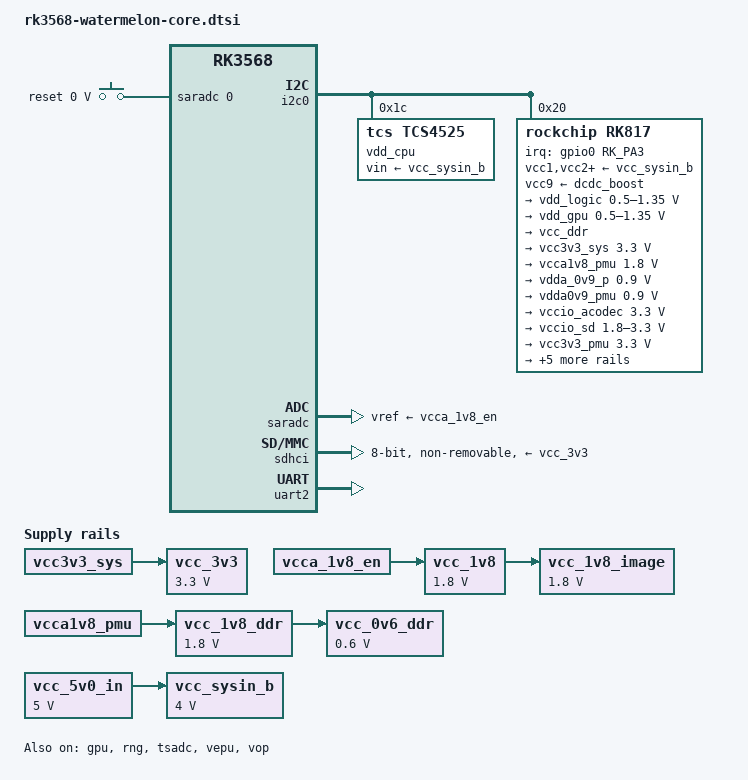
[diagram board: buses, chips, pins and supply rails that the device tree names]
// SPDX-License-Identifier: (GPL-2.0+ OR MIT)
// Copyright (c) 2023 unifreq <https://github.com/unifreq>

#include <dt-bindings/gpio/gpio.h>
#include <dt-bindings/pinctrl/rockchip.h>
#include <dt-bindings/pwm/pwm.h>
#include <dt-bindings/input/input.h>
#include <dt-bindings/soc/rockchip,vop2.h>
#include "rk3568.dtsi"

/ {
	aliases {
		mmc0 = &sdmmc0;
		mmc1 = &sdhci;
		ethernet0 = &gmac0;
		ethernet1 = &gmac1;
	};

	chosen: chosen {
		bootargs = "earlycon=uart8250,mmio32,0xfe660000 console=ttyS2,1500000";
	};

	reserved_memory: reserved-memory {
		#address-cells = <2>;
		#size-cells = <2>;
		ranges;

		cma: cma {
			compatible = "shared-dma-pool";
			reusable;
			size = <0x0 0x10000000>;
			linux,cma-default;
		};

		ramoops: ramoops@110000 {
			compatible = "ramoops";
			reg = <0x0 0x110000 0x0 0xf0000>;
			record-size = <0x20000>;
			console-size = <0x80000>;
			ftrace-size = <0x00000>;
			pmsg-size = <0x50000>;
		};
	};

	adc_keys: adc-keys {
		compatible = "adc-keys";
		io-channels = <&saradc 0>;
		io-channel-names = "buttons";
		keyup-threshold-microvolt = <1750000>;

		button_reset: button-reset {
			label = "reset";
			linux,code = <KEY_RESTART>;
			press-threshold-microvolt = <0>;
		};
	};

	vcc_5v0_in: vcc-5v0-in {
		compatible = "regulator-fixed";
		regulator-min-microvolt = <5000000>;
		regulator-max-microvolt = <5000000>;
		regulator-always-on;
		regulator-boot-on;
		regulator-name = "vcc_5v0_in";
	};

	vcc_sysin_b: vcc-sysin-b {
		compatible = "regulator-fixed";
		regulator-name = "vcc_sysin_b";
		regulator-always-on;
		regulator-boot-on;
		regulator-min-microvolt = <4000000>;
		regulator-max-microvolt = <4000000>;
		vin-supply = <&vcc_5v0_in>;
	};

	/* Enabled when PMIC_SLEEP_H down */
	vcc_3v3: vcc-3v3 {
		compatible = "regulator-fixed";
		regulator-name = "vcc_3v3";
		regulator-always-on;
		regulator-boot-on;
		regulator-min-microvolt = <3300000>;
		regulator-max-microvolt = <3300000>;
		vin-supply = <&vcc3v3_sys>;
	};

	/* Enabled when vcca_1v8_en up */
	vcc_1v8: vcc-1v8 {
		compatible = "regulator-fixed";
		regulator-name = "vcc_1v8";
		regulator-always-on;
		regulator-boot-on;
		regulator-min-microvolt = <1800000>;
		regulator-max-microvolt = <1800000>;
		vin-supply = <&vcca_1v8_en>;
	};

	vcc_1v8_image: vcc-1v8-image {
		compatible = "regulator-fixed";
		regulator-name = "vcc_1v8_image";
		regulator-always-on;
		regulator-boot-on;
		regulator-min-microvolt = <1800000>;
		regulator-max-microvolt = <1800000>;
		vin-supply = <&vcc_1v8>;
	};

	vcc_1v8_ddr: vcc-1v8-ddr {
		compatible = "regulator-fixed";
		regulator-name = "vcc_1v8_ddr";
		regulator-always-on;
		regulator-boot-on;
		regulator-min-microvolt = <1800000>;
		regulator-max-microvolt = <1800000>;
		vin-supply = <&vcca1v8_pmu>;
	};

	vcc_0v6_ddr: vcc_0v6_ddr {
		compatible = "regulator-fixed";
		regulator-name = "vcc_0v6_ddr";
		regulator-always-on;
		regulator-boot-on;
		regulator-min-microvolt = <600000>;
		regulator-max-microvolt = <600000>;
		vin-supply = <&vcc_1v8_ddr>;
	};
};

&cpu0 {
	cpu-supply = <&vdd_cpu>;
};

&cpu1 {
	cpu-supply = <&vdd_cpu>;
};

&cpu2 {
	cpu-supply = <&vdd_cpu>;
};

&cpu3 {
	cpu-supply = <&vdd_cpu>;
};

&gpu {
	mali-supply = <&vdd_gpu>;
	status = "okay";
};

&i2c0 {
	status = "okay";

	vdd_cpu: tcs4525@1c {
		compatible = "tcs,tcs4525";
		reg = <0x1c>;
		vin-supply = <&vcc_sysin_b>;
		regulator-compatible = "fan53555-reg";
		regulator-name = "vdd_cpu";
		regulator-min-microvolt = <712500>;
		regulator-max-microvolt = <1390000>;
		regulator-init-microvolt = <900000>;
		regulator-initial-mode = <1>;
		regulator-ramp-delay = <2300>;
		fcs,suspend-voltage-selector = <1>;
		regulator-boot-on;
		regulator-always-on;

		regulator-state-mem {
			regulator-off-in-suspend;
		};
	};

	rk817: pmic@20 {
		compatible = "rockchip,rk817";
		reg = <0x20>;
		interrupt-parent = <&gpio0>;
		interrupts = <RK_PA3 IRQ_TYPE_LEVEL_LOW>;

		pinctrl-names = "default", "pmic-sleep",
				"pmic-power-off", "pmic-reset";
		pinctrl-0 = <&pmic_int>;
		pinctrl-1 = <&soc_slppin_slp>, <&rk817_slppin_slp>;
		pinctrl-2 = <&soc_slppin_gpio>, <&rk817_slppin_pwrdn>;
		pinctrl-3 = <&soc_slppin_gpio>, <&rk817_slppin_rst>;
		rockchip,system-power-controller;
		wakeup-source;
		#clock-cells = <1>;
		clock-output-names = "rk808-clkout1", "rk808-clkout2";
		//fb-inner-reg-idxs = <2>;
		/* 1: rst regs (default in codes), 0: rst the pmic */
		pmic-reset-func = <0>;

		vcc1-supply = <&vcc_sysin_b>;
		vcc2-supply = <&vcc_sysin_b>;
		vcc3-supply = <&vcc_sysin_b>;
		vcc4-supply = <&vcc_sysin_b>;
		vcc5-supply = <&vcc_sysin_b>;
		vcc6-supply = <&vcc_sysin_b>;
		vcc7-supply = <&vcc_sysin_b>;
		vcc8-supply = <&vcc_sysin_b>;
		vcc9-supply = <&dcdc_boost>;

		pwrkey {
			status = "okay";
		};

		pinctrl_rk8xx: pinctrl_rk8xx {
			gpio-controller;
			#gpio-cells = <2>;

			rk817_slppin_null: rk817_slppin_null {
				pins = "gpio_slp";
				function = "pin_fun0";
			};

			rk817_slppin_slp: rk817_slppin_slp {
				pins = "gpio_slp";
				function = "pin_fun1";
			};

			rk817_slppin_pwrdn: rk817_slppin_pwrdn {
				pins = "gpio_slp";
				function = "pin_fun2";
			};

			rk817_slppin_rst: rk817_slppin_rst {
				pins = "gpio_slp";
				function = "pin_fun3";
			};
		};

		regulators {
			vdd_logic: DCDC_REG1 {
				regulator-always-on;
				regulator-boot-on;
				regulator-min-microvolt = <500000>;
				regulator-max-microvolt = <1350000>;
				regulator-init-microvolt = <900000>;
				regulator-ramp-delay = <6001>;
				regulator-initial-mode = <0x2>;
				regulator-name = "vdd_logic";
				regulator-state-mem {
					regulator-off-in-suspend;
				};
			};

			vdd_gpu: DCDC_REG2 {
				regulator-always-on;
				regulator-boot-on;
				regulator-min-microvolt = <500000>;
				regulator-max-microvolt = <1350000>;
				regulator-init-microvolt = <900000>;
				regulator-ramp-delay = <6001>;
				regulator-initial-mode = <0x2>;
				regulator-name = "vdd_gpu";
				regulator-state-mem {
					regulator-off-in-suspend;
				};
			};

			vcc_ddr: DCDC_REG3 {
				regulator-always-on;
				regulator-boot-on;
				regulator-initial-mode = <0x2>;
				regulator-name = "vcc_ddr";
				regulator-state-mem {
					regulator-on-in-suspend;
				};
			};

			vcc3v3_sys: DCDC_REG4 {
				regulator-always-on;
				regulator-boot-on;
				regulator-min-microvolt = <3300000>;
				regulator-max-microvolt = <3300000>;
				regulator-initial-mode = <0x2>;
				regulator-name = "vcc3v3_sys";
				regulator-state-mem {
					regulator-off-in-suspend;
				};
			};

			vcca1v8_pmu: LDO_REG1 {
				regulator-always-on;
				regulator-boot-on;
				regulator-min-microvolt = <1800000>;
				regulator-max-microvolt = <1800000>;
				regulator-name = "vcca1v8_pmu";
				regulator-state-mem {
					regulator-on-in-suspend;
					regulator-suspend-microvolt = <1800000>;
				};
			};

			vdda_0v9_p: LDO_REG2 {
				regulator-always-on;
				regulator-boot-on;
				regulator-min-microvolt = <900000>;
				regulator-max-microvolt = <900000>;
				regulator-name = "vdda_0v9_p";

				regulator-state-mem {
					regulator-off-in-suspend;
				};
			};

			vdda0v9_pmu: LDO_REG3 {
				regulator-always-on;
				regulator-boot-on;
				regulator-min-microvolt = <900000>;
				regulator-max-microvolt = <900000>;
				regulator-name = "vdda0v9_pmu";

				regulator-state-mem {
					regulator-on-in-suspend;
					regulator-suspend-microvolt = <900000>;
				};
			};

			vccio_acodec: LDO_REG4 {
				regulator-always-on;
				regulator-min-microvolt = <3300000>;
				regulator-max-microvolt = <3300000>;
				regulator-name = "vccio_acodec";

				regulator-state-mem {
					regulator-off-in-suspend;
				};
			};

			vccio_sd: LDO_REG5 {
				regulator-min-microvolt = <1800000>;
				regulator-max-microvolt = <3300000>;
				regulator-name = "vccio_sd";

				regulator-state-mem {
					regulator-off-in-suspend;
				};
			};

			vcc3v3_pmu: LDO_REG6 {
				regulator-always-on;
				regulator-boot-on;
				regulator-min-microvolt = <3300000>;
				regulator-max-microvolt = <3300000>;
				regulator-name = "vcc3v3_pmu";

				regulator-state-mem {
					regulator-on-in-suspend;
					regulator-suspend-microvolt = <3300000>;
				};
			};

			vcca_1v8_en: LDO_REG7 {
				regulator-always-on;
				regulator-boot-on;
				regulator-min-microvolt = <1800000>;
				regulator-max-microvolt = <1800000>;
				regulator-name = "vcca_1v8_en";

				regulator-state-mem {
					regulator-off-in-suspend;
				};
			};

			vdda0v9_image_p: LDO_REG8 {
				regulator-boot-on;
				regulator-always-on;
				regulator-min-microvolt = <900000>;
				regulator-max-microvolt = <900000>;
				regulator-name = "vdda0v9_image_p";
				regulator-state-mem {
					regulator-off-in-suspend;
				};
			};

			vcca1v8_image_p: LDO_REG9 {
				regulator-always-on;
				regulator-boot-on;
				regulator-min-microvolt = <1800000>;
				regulator-max-microvolt = <1800000>;
				regulator-name = "vcca1v8_image_p";
				regulator-state-mem {
					regulator-off-in-suspend;
				};
			};

			dcdc_boost: BOOST {
				regulator-always-on;
				regulator-boot-on;
				regulator-min-microvolt = <4700000>;
				regulator-max-microvolt = <5400000>;
				regulator-name = "boost";
				regulator-state-mem {
					regulator-off-in-suspend;
				};
			};

			otg_switch: OTG_SWITCH {
				regulator-name = "otg_switch";
				regulator-state-mem {
					regulator-off-in-suspend;
				};
			};
		};

		rk817_codec: codec {
			mic-in-differential;
		};
	};
};

&pinctrl {
	pmic {
		pmic_int: pmic_int {
			rockchip,pins = <0 RK_PA3 RK_FUNC_GPIO &pcfg_pull_up>;
		};

		soc_slppin_gpio: soc_slppin_gpio {
			rockchip,pins = <0 RK_PA2 RK_FUNC_GPIO &pcfg_output_low>;
		};

		soc_slppin_rst: soc_slppin_rst {
			rockchip,pins = <0 RK_PA2 2 &pcfg_pull_none>;
		};

		soc_slppin_slp: soc_slppin_slp {
			rockchip,pins = <0 RK_PA2 1 &pcfg_pull_none>;
		};
	};
};

&pmu_io_domains {
	//fixed, pmuio0-supply = <&vcca1v8_pmu>;
	pmuio1-supply = <&vcc3v3_pmu>;
	pmuio2-supply = <&vcc3v3_pmu>;
	vccio1-supply = <&vccio_acodec>;
	//configure by hardware FLASH_VOL_SEL pin, vccio2-supply = <&vcca_1v8>;
	vccio3-supply = <&vccio_sd>;
	vccio4-supply = <&vcca1v8_pmu>;

	/*
	 * v1 & v2 uses vcc_1v8
	 * v3 uses vcc_3v3
	 */
	vccio5-supply = <&vcc_1v8>;

	vccio6-supply = <&vcca1v8_pmu>;
	vccio7-supply = <&vcc_3v3>;
	status = "okay";
};

&rng {
	status = "okay";
};

&saradc {
	status = "okay";
	vref-supply = <&vcca_1v8_en>;
};

&sdhci {
	bus-width = <8>;
	supports-emmc;
	no-sdio;
	no-sd;
	non-removable;
	max-frequency = <200000000>;
	cap-mmc-highspeed;
	mmc-ddr-1_8v;
	mmc-hs200-1_8v;
	full-pwr-cycle-in-suspend;
	status = "okay";
	vmmc-supply = <&vcc_3v3>;
	vqmmc-supply = <&vcc_1v8>;
};

&tsadc {
	rockchip,hw-tshut-mode = <1>;
	rockchip,hw-tshut-polarity = <0>;
	status = "okay";
};

&uart2 {
	status = "okay";
};

&vepu {
	status = "okay";
};

&vepu_mmu {
	status = "okay";
};

&vop {
	status = "okay";
	assigned-clocks = <&cru DCLK_VOP0>, <&cru DCLK_VOP1>, <&cru DCLK_VOP2>;
	assigned-clock-parents = <&pmucru PLL_HPLL>, <&cru PLL_VPLL>, <&cru PLL_GPLL>;
};

&vop_mmu {
	status = "okay";
};

&vp0 {
	vp0_out_hdmi: endpoint@ROCKCHIP_VOP2_EP_HDMI0 {
		reg = <ROCKCHIP_VOP2_EP_HDMI0>;
		remote-endpoint = <&hdmi_in_vp0>;
	};
};
